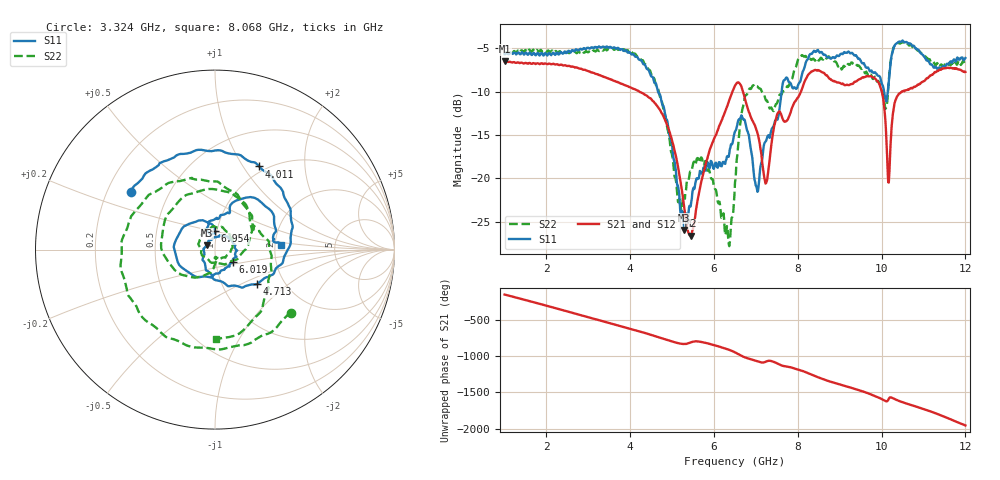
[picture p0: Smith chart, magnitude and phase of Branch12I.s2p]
!Keysight Technologies N9917A: A.08.15
!Date: Friday, 06 October 2017 10:02:19
!Timezone: (GMT-08:00) Pacific Time (US & Canada)
!Model: N9917A
!Serial: MY53102735
!GPS Latitude:
!GPS Longitude:
!GPS TimeStamp: 0001-01-01 00:00:00Z
!GPS Seconds Since Last Read: 0
!CHECKSUM:1883445916
!Correction: S11(ON U)S21(ON U)S12(ON U)S22(ON U)
!S2P File: Measurements:S11,S21,S12,S22:
# Hz S DB R 50
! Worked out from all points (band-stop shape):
!   801 points, 1 GHz to 12 GHz, reference 50 ohm
!   highest |S21| = -6.53 dB at 1 GHz (marker M1); lowest = -26.6 dB at 5.441 GHz (marker M2)
!   |S21| within 3 dB of the highest: start of sweep to 4.006 GHz; 8.112 GHz to 9.973 GHz (1.861 GHz wide, 20.6 % of centre)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
!   lowest |S11| = -25.9 dB at 5.29 GHz (marker M3), VSWR 1.11, Z = 45.7 + j2.19 ohm
!   |S11| at or under -10 dB: 4.663 GHz to 7.614 GHz (2.951 GHz wide, 48.1 % of centre); 10.06 GHz to 10.15 GHz (88.55 MHz wide, 0.876 % of centre)
!   |S22| runs from -27.8 to -4.3 dB; largest |S21 - S12| = 0.012
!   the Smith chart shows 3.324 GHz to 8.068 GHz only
!   S11 on the Smith chart (normalised r, x): 3.324 GHz: 0.30, +0.28; 4.011 GHz: 0.93, +1.18; 4.713 GHz: 1.45, -0.62; 6.019 GHz: 1.20, -0.17; 6.954 GHz: 0.98, +0.20; 8.068 GHz: 2.15, +0.14
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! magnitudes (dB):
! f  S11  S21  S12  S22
! 1 GHz  -5.7  -6.5  -6.6  -5.8
! 2.842 GHz  -5.2  -7.4  -7.4  -5.4
! 3.324 GHz  -4.9  -8.2  -8.2  -5.2
! 4.011 GHz  -5.6  -9.5  -9.6  -5.4
! 4.671 GHz  -10.1  -11.9  -11.9  -9.8
! 4.713 GHz  -10.4  -12.2  -12.2  -10.6
! 5.166 GHz  -21.6  -19.4  -19.4  -22.3
! 5.29 GHz  -25.9  -23.3  -23.4  -22.0
! 5.441 GHz  -23.2  -26.6  -26.7  -19.2
! 6.019 GHz  -18.5  -15.2  -15.3  -21.2
! 6.335 GHz  -17.4  -11.4  -11.4  -26.7
! 6.5 GHz  -14.6  -9.3  -9.3  -20.4
! 6.692 GHz  -13.2  -10.0  -10.0  -11.7
! 6.954 GHz  -19.7  -13.7  -13.7  -9.3
! 7.242 GHz  -15.7  -20.5  -20.7  -11.0
! 7.504 GHz  -13.3  -12.7  -12.7  -11.4
! 8.068 GHz  -8.7  -10.1  -10.1  -6.0
! 8.342 GHz  -5.6  -7.7  -7.7  -6.3
! 9.869 GHz  -7.9  -8.6  -8.7  -8.6
! 10.17 GHz  -8.8  -20.5  -20.6  -8.7
! 10.42 GHz  -4.2  -10.2  -10.3  -4.4
! 12 GHz  -6.1  -7.8  -7.8  -6.8
